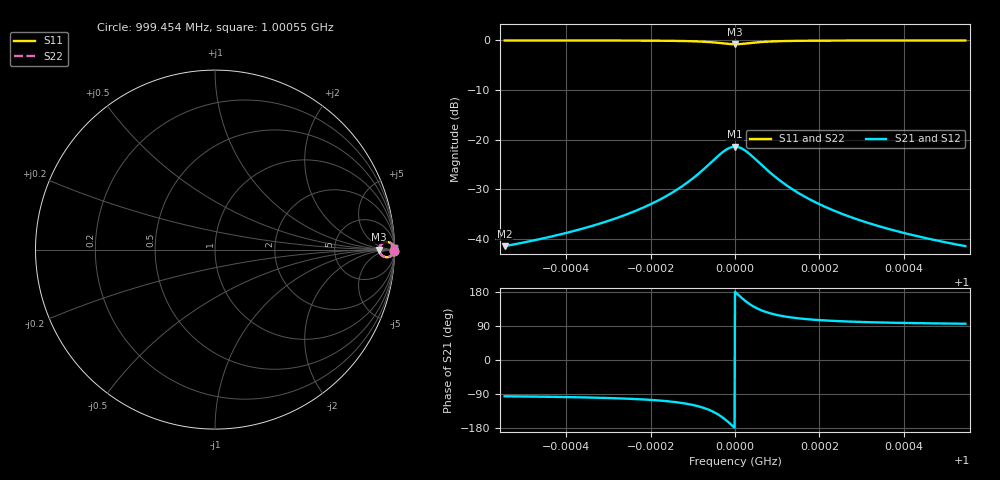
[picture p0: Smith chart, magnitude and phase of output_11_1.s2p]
! File generated for n1 = 11, n2 = 1
! b1 = 0.046416
! b2 = 0.046416
! Q0 = 10000.000000
! f0 = 1000000000.000000
! n = 1001
! rel_span = 10.000000
# Hz S RI R 50
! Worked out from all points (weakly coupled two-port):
!   1001 points, 999.454 MHz to 1.00055 GHz, reference 50 ohm
!   highest |S21| = -21.42 dB at 1 GHz (marker M1); lowest = -41.5 dB at 999.454 MHz (marker M2)
!   lowest |S11| = -0.8 dB at 1 GHz (marker M3), VSWR 22.54, Z = 1.13e+03 + j0 ohm
!   |S11| at or under -10 dB: nowhere
!   |S22| runs from -0.8 to 0.0 dB; largest |S21 - S12| = 0
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9.994536e8  0.9992 -0.00841  -0.000841 -0.00841  -0.000841 -0.00841  0.9992 -0.00841
9.995476e8  0.9988 -0.0101  -0.00122 -0.0101  -0.00122 -0.0101  0.9988 -0.0101
9.996361e8  0.9981 -0.0125  -0.00187 -0.0125  -0.00187 -0.0125  0.9981 -0.0125
9.997366e8  0.9965 -0.0169  -0.0035 -0.0169  -0.0035 -0.0169  0.9965 -0.0169
9.998186e8  0.9929 -0.0235  -0.00706 -0.0235  -0.00706 -0.0235  0.9929 -0.0235
9.998547e8  0.9895 -0.028  -0.0105 -0.028  -0.0105 -0.028  0.9895 -0.028
9.998874e8  0.9838 -0.0334  -0.0162 -0.0334  -0.0162 -0.0334  0.9838 -0.0334
9.999169e8  0.9743 -0.039  -0.0257 -0.039  -0.0257 -0.039  0.9743 -0.039
9.99953e8  0.9512 -0.042  -0.0488 -0.042  -0.0488 -0.042  0.9512 -0.042
9.999803e8  0.9248 -0.0271  -0.0752 -0.0271  -0.0752 -0.0271  0.9248 -0.0271
1e9  0.9151 0  -0.0849 0  -0.0849 0  0.9151 0
1.00001e9  0.9177 0.0148  -0.0823 0.0148  -0.0823 0.0148  0.9177 0.0148
1.000021e9  0.9258 0.0282  -0.0742 0.0282  -0.0742 0.0282  0.9258 0.0282
1.000048e9  0.9521 0.0421  -0.0479 0.0421  -0.0479 0.0421  0.9521 0.0421
1.000084e9  0.9748 0.0388  -0.0252 0.0388  -0.0252 0.0388  0.9748 0.0388
1.000114e9  0.9841 0.0332  -0.0159 0.0332  -0.0159 0.0332  0.9841 0.0332
1.000146e9  0.9896 0.0278  -0.0104 0.0278  -0.0104 0.0278  0.9896 0.0278
1.000183e9  0.993 0.0233  -0.00699 0.0233  -0.00699 0.0233  0.993 0.0233
1.000264e9  0.9965 0.0168  -0.00348 0.0168  -0.00348 0.0168  0.9965 0.0168
1.000365e9  0.9981 0.0124  -0.00186 0.0124  -0.00186 0.0124  0.9981 0.0124
1.000454e9  0.9988 0.0101  -0.00122 0.0101  -0.00122 0.0101  0.9988 0.0101
1.000546e9  0.9992 0.00841  -0.000842 0.00841  -0.000842 0.00841  0.9992 0.00841
